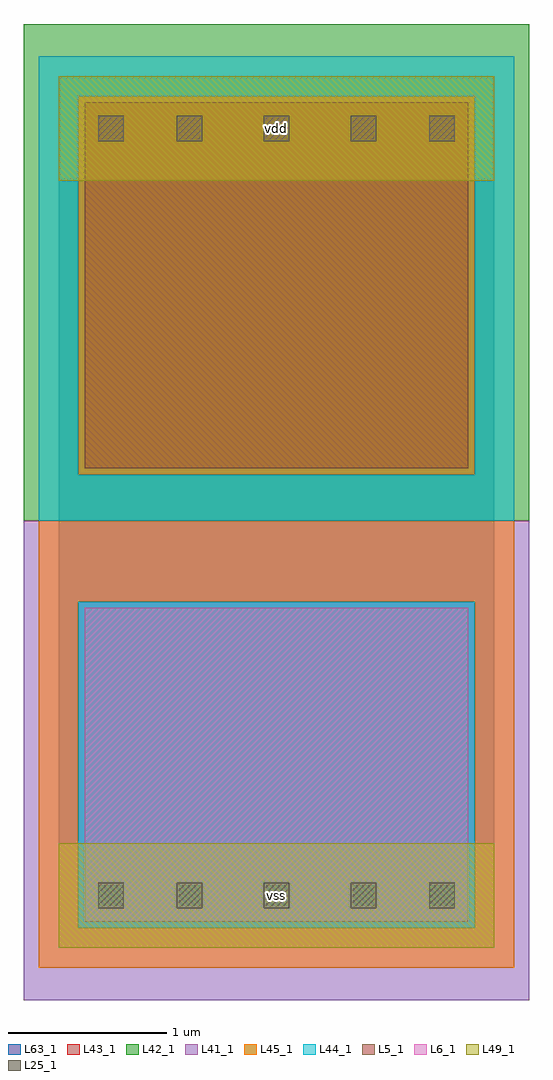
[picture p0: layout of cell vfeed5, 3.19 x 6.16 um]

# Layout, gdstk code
import gdstk
lib = gdstk.Library(unit=1e-6, precision=1e-09)
def R(c, l, rs):  # rectangles x0, y0, x1, y1
    for r in rs: c.add(gdstk.rectangle(r[:2], r[2:], *l))
def A(c, l, x, y, w, h, nx, ny, dx, dy):  # array of equal rectangles
    R(c, l, [(x+i*dx, y+j*dy, x+i*dx+w, y+j*dy+h) for i in range(nx) for j in range(ny)])
L5_1 = (5, 1)
L6_1 = (6, 1)
L25_1 = (25, 1)
L41_1 = (41, 1)
L42_1 = (42, 1)
L43_1 = (43, 1)
L44_1 = (44, 1)
L45_1 = (45, 1)
L49_1 = (49, 1)
L63_1 = (63, 1)

vfeed5 = lib.new_cell('vfeed5')
R(vfeed5, L5_1, [(0.165,3.025,2.585,5.335)])
R(vfeed5, L6_1, [(0.165,0.165,2.585,2.145)])
A(vfeed5, L25_1, 0.745, 0.25, 0.16, 0.16, 3, 2, 0.55, 4.84)
R(vfeed5, L25_1, [(0.25,0.25,0.41,0.41), (2.34,0.25,2.5,0.41), (0.25,5.09,0.41,5.25), (2.34,5.09,2.5,5.25)])
R(vfeed5, L41_1, [(-0.22,-0.33,2.97,2.695)])
R(vfeed5, L42_1, [(-0.22,2.695,2.97,5.83)])
R(vfeed5, L43_1, [(0.165,0.165,2.585,2.145), (0.165,3.025,2.585,5.335)])
R(vfeed5, L44_1, [(0.125,0.125,2.625,2.185), (-0.125,2.695,2.875,2.985), (-0.125,2.985,0.125,5.375), (2.625,2.985,2.875,5.375), (-0.125,5.375,2.875,5.625)])
R(vfeed5, L45_1, [(-0.125,-0.125,2.875,0.125), (-0.125,0.125,0.125,2.185), (2.625,0.125,2.875,2.185), (-0.125,2.185,2.875,2.695), (0.125,2.985,2.625,5.375)])
R(vfeed5, L49_1, [(0,0,2.75,0.66), (0,4.84,2.75,5.5)])
R(vfeed5, L63_1, [(0,0,2.75,5.5)])
vfeed5.add(gdstk.Label('vss', (1.375,0.33), layer=49, texttype=1))
vfeed5.add(gdstk.Label('vss', (1.375,0.33), layer=49, texttype=1))
vfeed5.add(gdstk.Label('vdd', (1.375,5.17), layer=49, texttype=1))
vfeed5.add(gdstk.Label('vdd', (1.375,5.17), layer=49, texttype=1))

lib.write_gds('vfeed5.gds')
